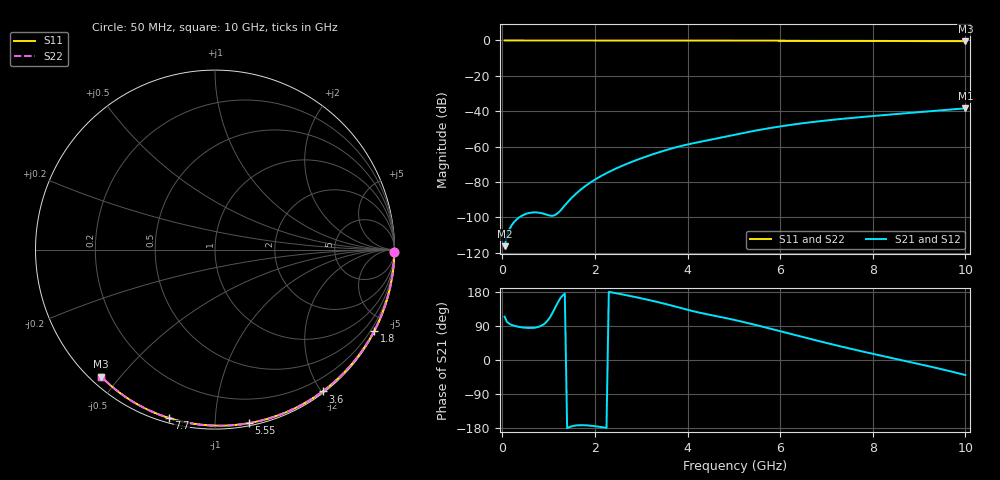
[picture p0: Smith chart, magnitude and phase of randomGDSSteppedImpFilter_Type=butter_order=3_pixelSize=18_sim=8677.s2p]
! freq	dB(S11)	phase(S11)	dB(S12)	phase(S12)
!  dB(S21)	phase(S21)	dB(S22)	phase(S22)
!S-par simulation data
#  GHz  S  DB  R 50
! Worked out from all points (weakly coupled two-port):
!   200 points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, 50 MHz to 10 GHz, reference 50 ohm
!   highest |S21| = -38.37 dB at 10 GHz (marker M1); lowest = -116.2 dB at 50 MHz (marker M2)
!   lowest |S11| = -0.4 dB at 10 GHz (marker M3), VSWR 38.96, Z = 1.54 - j22.3 ohm
!   |S11| at or under -10 dB: nowhere
!   |S22| runs from -0.4 to 0.0 dB; largest |S21 - S12| = 0
!   S11 on the Smith chart (normalised r, x): 50 MHz: open; 1.8 GHz: 0.04, -4.16; 3.6 GHz: 0.02, -2.01; 5.55 GHz: 0.02, -1.22; 7.7 GHz: 0.02, -0.76; 10 GHz: 0.03, -0.45
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0.05  -0.00 -0.8  -116.23 114.3  -116.23 114.3  -0.00 -0.8
0.5  -0.01 -7.6  -98.10 85.0  -98.10 85.0  -0.01 -7.6
0.9  -0.02 -13.6  -97.97 94.4  -97.97 94.4  -0.02 -13.6
1.75  -0.03 -26.3  -83.11 -172.1  -83.11 -172.1  -0.03 -26.3
1.8  -0.03 -27.0  -82.12 -172.3  -82.12 -172.3  -0.03 -27.0
1.9  -0.04 -28.5  -80.31 -173.3  -80.31 -173.3  -0.04 -28.5
1.95  -0.04 -29.2  -79.45 -173.9  -79.45 -173.9  -0.04 -29.2
2.25  -0.04 -33.6  -74.97 -179.2  -74.97 -179.2  -0.04 -33.6
2.55  -0.05 -37.9  -71.25 174.1  -71.25 174.1  -0.05 -37.9
2.95  -0.06 -43.7  -67.06 164.1  -67.06 164.1  -0.06 -43.7
3.4  -0.07 -50.0  -63.04 151.6  -63.04 151.6  -0.07 -50.0
3.6  -0.07 -52.8  -61.46 145.5  -61.46 145.5  -0.07 -52.8
4  -0.08 -58.3  -58.77 132.5  -58.77 132.5  -0.08 -58.3
4.5  -0.09 -65.1  -56.07 118.8  -56.07 118.8  -0.09 -65.1
5.05  -0.11 -72.4  -53.06 104.7  -53.06 104.7  -0.11 -72.4
5.55  -0.13 -78.9  -50.54 90.1  -50.54 90.1  -0.13 -78.9
6.1  -0.15 -85.9  -48.18 72.9  -48.18 72.9  -0.15 -85.9
6.7  -0.18 -93.3  -46.09 54.1  -46.09 54.1  -0.18 -93.3
7.7  -0.24 -105.3  -43.41 24.6  -43.41 24.6  -0.24 -105.4
8.35  -0.29 -113.0  -41.92 6.8  -41.92 6.8  -0.29 -113.0
9.15  -0.36 -122.2  -40.17 -14.8  -40.17 -14.8  -0.36 -122.2
10  -0.45 -131.8  -38.37 -39.7  -38.37 -39.7  -0.45 -131.8
